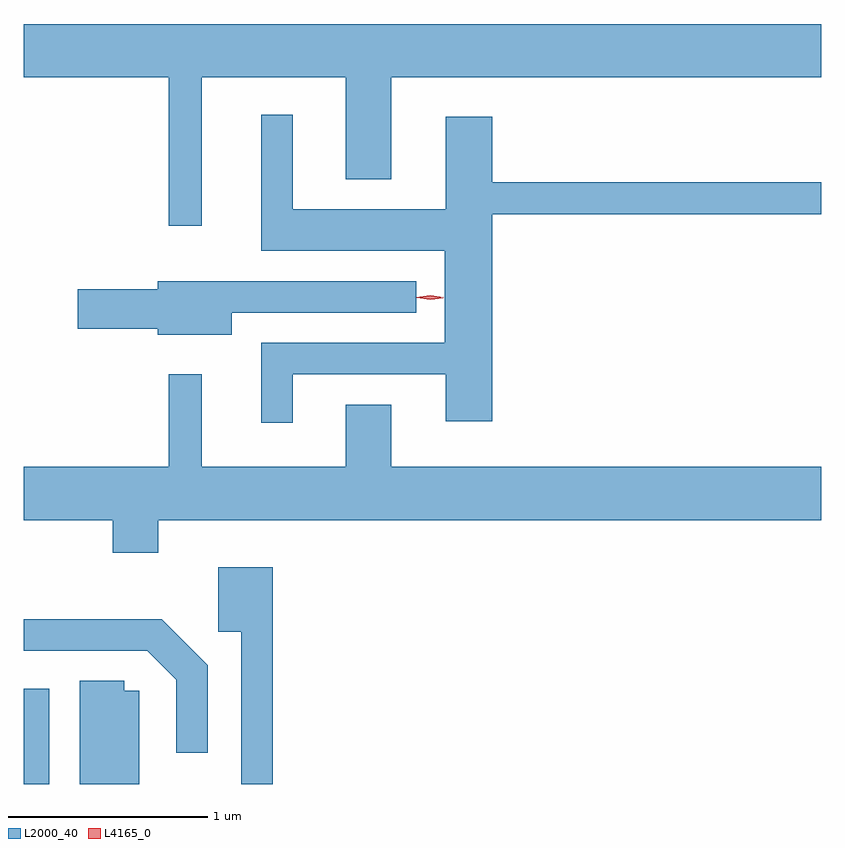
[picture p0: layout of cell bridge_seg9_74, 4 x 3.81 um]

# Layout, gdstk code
import gdstk
lib = gdstk.Library(unit=1e-6, precision=1e-09)
def R(c, l, rs):  # rectangles x0, y0, x1, y1
    for r in rs: c.add(gdstk.rectangle(r[:2], r[2:], *l))
def P(c, l, *ps):  # polygons
    for p in ps: c.add(gdstk.Polygon(p, *l))
L2000_40 = (2000, 40)
L4165_0 = (4165, 0)

bridge_seg9_74 = lib.new_cell('bridge_seg9_74')
R(bridge_seg9_74, L2000_40, [(1787.125,1981.612,1787.254,1982.089)])
P(bridge_seg9_74, L2000_40, [(1788.019,1985.156),(1788.741,1985.156),(1788.741,1984.646),(1788.969,1984.646),(1788.969,1985.156),(1791.125,1985.156),(1791.125,1985.424),(1787.125,1985.424),(1787.125,1985.156),(1787.851,1985.156),(1787.851,1984.413),(1788.019,1984.413)],
  [(1788.474,1983.666),(1789.241,1983.666),(1789.241,1983.431),(1789.474,1983.431),(1789.474,1984.471),(1791.125,1984.471),(1791.125,1984.629),(1789.474,1984.629),(1789.474,1984.959),(1789.241,1984.959),(1789.241,1984.494),(1788.474,1984.494),(1788.474,1984.968),(1788.316,1984.968),(1788.316,1984.286),(1789.236,1984.286),(1789.236,1983.824),(1788.316,1983.824),(1788.316,1983.423),(1788.474,1983.423)],
  [(1788.169,1983.976),(1789.093,1983.976),(1789.093,1984.134),(1787.796,1984.134),(1787.796,1984.094),(1787.396,1984.094),(1787.396,1983.896),(1787.796,1983.896),(1787.796,1983.866),(1788.169,1983.866)],
  [(1787.799,1982.936),(1791.125,1982.936),(1791.125,1983.204),(1788.969,1983.204),(1788.969,1983.514),(1788.741,1983.514),(1788.741,1983.204),(1788.019,1983.204),(1788.019,1983.668),(1787.851,1983.668),(1787.851,1983.204),(1787.125,1983.204),(1787.125,1982.936),(1787.571,1982.936),(1787.571,1982.771),(1787.799,1982.771)],
  [(1788.374,1982.699),(1788.101,1982.699),(1788.101,1982.376),(1788.216,1982.376),(1788.216,1981.612),(1788.374,1981.612)],
  [(1788.049,1982.207),(1787.817,1982.439),(1787.125,1982.439),(1787.125,1982.281),(1787.744,1982.281),(1787.891,1982.134),(1787.891,1981.768),(1788.049,1981.768)],
  [(1787.704,1982.079),(1787.629,1982.079),(1787.629,1982.129),(1787.406,1982.129),(1787.406,1981.612),(1787.704,1981.612)])
P(bridge_seg9_74, L4165_0, [(1789.163,1984.043),(1789.094,1984.053),(1789.093,1984.053),(1789.094,1984.054),(1789.163,1984.063),(1789.232,1984.054),(1789.232,1984.053),(1789.232,1984.053)],
  [(1789.163,1984.04),(1789.097,1984.051),(1789.097,1984.051),(1789.097,1984.052),(1789.164,1984.06),(1789.229,1984.049),(1789.23,1984.049),(1789.229,1984.048)])

lib.write_gds('bridge_seg9_74.gds')
